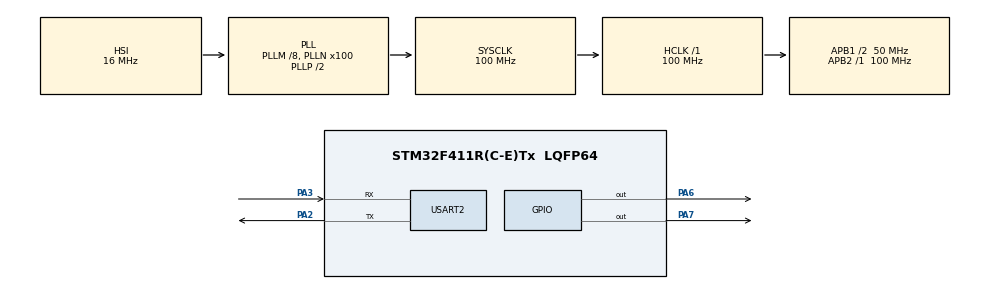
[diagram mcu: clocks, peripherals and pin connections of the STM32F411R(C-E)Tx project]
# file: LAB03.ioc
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Mcu.Family=STM32F4
Mcu.Name=STM32F411R(C-E)Tx
Mcu.Package=LQFP64
NVIC.PriorityGroup=NVIC_PRIORITYGROUP_4
PA2.Mode=Asynchronous
PA2.Signal=USART2_TX
PA3.Mode=Asynchronous
PA3.Signal=USART2_RX
PA6.GPIO_Speed=GPIO_SPEED_FREQ_HIGH
PA6.Signal=GPIO_Output
PA7.GPIO_Speed=GPIO_SPEED_FREQ_HIGH
PA7.Signal=GPIO_Output
ProjectManager.HeapSize=0x200
ProjectManager.StackSize=0x400
ProjectManager.TargetToolchain=MDK-ARM V5
RCC.48MHZClocksFreq_Value=50000000
RCC.AHBFreq_Value=100000000
RCC.APB1CLKDivider=RCC_HCLK_DIV2
RCC.APB1Freq_Value=50000000
RCC.APB1TimFreq_Value=100000000
RCC.APB2Freq_Value=100000000
RCC.APB2TimFreq_Value=100000000
RCC.CortexFreq_Value=100000000
RCC.HCLKFreq_Value=100000000
RCC.HSE_VALUE=25000000
RCC.HSI_VALUE=16000000
RCC.LSE_VALUE=32768
RCC.PLLM=8
RCC.PLLN=100
RCC.SYSCLKFreq_VALUE=100000000
RCC.SYSCLKSource=RCC_SYSCLKSOURCE_PLLCLK
RCC.VCOOutputFreq_Value=200000000
USART2.VirtualMode=VM_ASYNC
board=LAB03

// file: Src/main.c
/**
  ******************************************************************************
  * @file           : main.c
  * @brief          : Main program body
  ******************************************************************************
  ** This notice applies to any and all portions of this file
  * that are not between comment pairs USER CODE BEGIN and
  * USER CODE END. Other portions of this file, whether
  * inserted by the user or by software development tools
  * are owned by their respective copyright owners.
  *
  * COPYRIGHT(c) 2018 STMicroelectronics
  *
  * Redistribution and use in source and binary forms, with or without modification,
  * are permitted provided that the following conditions are met:
  *   1. Redistributions of source code must retain the above copyright notice,
  *      this list of conditions and the following disclaimer.
  *   2. Redistributions in binary form must reproduce the above copyright notice,
  *      this list of conditions and the following disclaimer in the documentation
  *      and/or other materials provided with the distribution.
  *   3. Neither the name of STMicroelectronics nor the names of its contributors
  *      may be used to endorse or promote products derived from this software
  *      without specific prior written permission.
  *
  * THIS SOFTWARE IS PROVIDED BY THE COPYRIGHT HOLDERS AND CONTRIBUTORS "AS IS"
  * AND ANY EXPRESS OR IMPLIED WARRANTIES, INCLUDING, BUT NOT LIMITED TO, THE
  * IMPLIED WARRANTIES OF MERCHANTABILITY AND FITNESS FOR A PARTICULAR PURPOSE ARE
  * DISCLAIMED. IN NO EVENT SHALL THE COPYRIGHT HOLDER OR CONTRIBUTORS BE LIABLE
  * FOR ANY DIRECT, INDIRECT, INCIDENTAL, SPECIAL, EXEMPLARY, OR CONSEQUENTIAL
  * DAMAGES (INCLUDING, BUT NOT LIMITED TO, PROCUREMENT OF SUBSTITUTE GOODS OR
  * SERVICES; LOSS OF USE, DATA, OR PROFITS; OR BUSINESS INTERRUPTION) HOWEVER
  * CAUSED AND ON ANY THEORY OF LIABILITY, WHETHER IN CONTRACT, STRICT LIABILITY,
  * OR TORT (INCLUDING NEGLIGENCE OR OTHERWISE) ARISING IN ANY WAY OUT OF THE USE
  * OF THIS SOFTWARE, EVEN IF ADVISED OF THE POSSIBILITY OF SUCH DAMAGE.
  *
  ******************************************************************************
  */
#include "main.h"
#include "stm32f4xx_hal.h"

/* USER CODE BEGIN Includes */
#include <string.h>
/* USER CODE END Includes */

UART_HandleTypeDef huart2;

/* USER CODE BEGIN PV */
/* Private variables ---------------------------------------------------------*/

/* USER CODE END PV */

void SystemClock_Config(void);
static void MX_GPIO_Init(void);
static void MX_USART2_UART_Init(void);

/* USER CODE BEGIN PFP */
/* Private function prototypes -----------------------------------------------*/

/* USER CODE END PFP */

int main(void)
{

  /* MCU Configuration----------------------------------------------------------*/

  /* Reset of all peripherals, Initializes the Flash interface and the Systick. */
  HAL_Init();

  /* Configure the system clock */
  SystemClock_Config();

  /* Initialize all configured peripherals */
  MX_GPIO_Init();
  MX_USART2_UART_Init();
  /* USER CODE BEGIN 2 */
	char input;

	char display1[] = "Display Blinking LED PRESS (r, g)";
	char display2[] = "\n\rDisplay Group Members PRESS m";
	char display3[] = "\n\rQuit PRESS q";
	char display4[] = "\n\r\tInput => ";

	char clear[] = "\033[2J";
	char cursor[] = "\033[0;0H";
//	char moveDown[] = "\033[10B";
//	char moveUp[] = "\033[11A";

	char quit[] = "\n\rQuit";
	char unknown[] = "\n\rUnknown Command";

	char members[] = "\n\r\
1. Jakkarin Yotapakdee \t\t5840207951\n\r\
2. Pradit Yamsook \t\t5840207349\n\r\
3. Pornpilai Tongkarasonk \t5840003254\n\r\
4. Araya Kawsomboon \t\t5840205711\n\r";

	while(__HAL_UART_GET_FLAG(&huart2, UART_FLAG_TC) == RESET) {}

	HAL_UART_Transmit(&huart2, (uint8_t*) clear, strlen(clear), 1000);
	HAL_UART_Transmit(&huart2, (uint8_t*) cursor, strlen(cursor), 1000);
//	HAL_UART_Transmit(&huart2, (uint8_t*) moveDown, strlen(moveDown), 1000);
//	HAL_UART_Transmit(&huart2, (uint8_t*) moveUp, strlen(moveUp), 1000);
	HAL_UART_Transmit(&huart2, (uint8_t*) display1, strlen(display1), 1000);
	HAL_UART_Transmit(&huart2, (uint8_t*) display2, strlen(display2), 1000);
	HAL_UART_Transmit(&huart2, (uint8_t*) display3, strlen(display3), 1000);
  /* USER CODE END 2 */

  /* Infinite loop */
  while (1)
  {
		HAL_UART_Transmit(&huart2, (uint8_t*) display4, strlen(display4), 1000);

		while(__HAL_UART_GET_FLAG(&huart2, UART_FLAG_RXNE) == RESET) {}
		HAL_UART_Receive(&huart2, (uint8_t*) &input, 1, 1000);

		HAL_UART_Transmit(&huart2, (uint8_t*) &input, 1, 1000);

		if (input == 'q')
		{
			HAL_UART_Transmit(&huart2, (uint8_t*) quit, strlen(quit), 1000);
			break;
		}

		if (input == 'r')
		{
			for(int i = 0; i < 10; i++)
			{
				HAL_GPIO_TogglePin(GPIOA, GPIO_PIN_7);
				HAL_Delay(300);
			}

			continue;
		}

		if (input == 'g')
		{
			for(int i = 0; i < 10; i++)
			{
				HAL_GPIO_TogglePin(GPIOA, GPIO_PIN_6);
				HAL_Delay(300);
			}

			continue;
		}

		if (input == 'A')
		{

		}

		if (input == 'm')
		{
			HAL_UART_Transmit(&huart2, (uint8_t*) members, strlen(members), 1000);
			continue;
		}

		HAL_UART_Transmit(&huart2, (uint8_t*) unknown, strlen(unknown), 1000);
  }

}

void SystemClock_Config(void)
{

  RCC_OscInitTypeDef RCC_OscInitStruct;
  RCC_ClkInitTypeDef RCC_ClkInitStruct;

    /**Configure the main internal regulator output voltage
    */
  __HAL_RCC_PWR_CLK_ENABLE();

  __HAL_PWR_VOLTAGESCALING_CONFIG(PWR_REGULATOR_VOLTAGE_SCALE1);

    /**Initializes the CPU, AHB and APB busses clocks
    */
  RCC_OscInitStruct.OscillatorType = RCC_OSCILLATORTYPE_HSI;
  RCC_OscInitStruct.HSIState = RCC_HSI_ON;
  RCC_OscInitStruct.HSICalibrationValue = 16;
  RCC_OscInitStruct.PLL.PLLState = RCC_PLL_ON;
  RCC_OscInitStruct.PLL.PLLSource = RCC_PLLSOURCE_HSI;
  RCC_OscInitStruct.PLL.PLLM = 8;
  RCC_OscInitStruct.PLL.PLLN = 100;
  RCC_OscInitStruct.PLL.PLLP = RCC_PLLP_DIV2;
  RCC_OscInitStruct.PLL.PLLQ = 4;
  if (HAL_RCC_OscConfig(&RCC_OscInitStruct) != HAL_OK)
  {
    _Error_Handler(__FILE__, __LINE__);
  }

    /**Initializes the CPU, AHB and APB busses clocks
    */
  RCC_ClkInitStruct.ClockType = RCC_CLOCKTYPE_HCLK|RCC_CLOCKTYPE_SYSCLK
                              |RCC_CLOCKTYPE_PCLK1|RCC_CLOCKTYPE_PCLK2;
  RCC_ClkInitStruct.SYSCLKSource = RCC_SYSCLKSOURCE_PLLCLK;
  RCC_ClkInitStruct.AHBCLKDivider = RCC_SYSCLK_DIV1;
  RCC_ClkInitStruct.APB1CLKDivider = RCC_HCLK_DIV2;
  RCC_ClkInitStruct.APB2CLKDivider = RCC_HCLK_DIV1;

  if (HAL_RCC_ClockConfig(&RCC_ClkInitStruct, FLASH_LATENCY_3) != HAL_OK)
  {
    _Error_Handler(__FILE__, __LINE__);
  }

    /**Configure the Systick interrupt time
    */
  HAL_SYSTICK_Config(HAL_RCC_GetHCLKFreq()/1000);

    /**Configure the Systick
    */
  HAL_SYSTICK_CLKSourceConfig(SYSTICK_CLKSOURCE_HCLK);

  /* SysTick_IRQn interrupt configuration */
  HAL_NVIC_SetPriority(SysTick_IRQn, 0, 0);
}

/* USART2 init function */
static void MX_USART2_UART_Init(void)
{

  huart2.Instance = USART2;
  huart2.Init.BaudRate = 115200;
  huart2.Init.WordLength = UART_WORDLENGTH_8B;
  huart2.Init.StopBits = UART_STOPBITS_1;
  huart2.Init.Parity = UART_PARITY_NONE;
  huart2.Init.Mode = UART_MODE_TX_RX;
  huart2.Init.HwFlowCtl = UART_HWCONTROL_NONE;
  huart2.Init.OverSampling = UART_OVERSAMPLING_16;
  if (HAL_UART_Init(&huart2) != HAL_OK)
  {
    _Error_Handler(__FILE__, __LINE__);
  }

}

/** Configure pins as
        * Analog
        * Input
        * Output
        * EVENT_OUT
        * EXTI
*/
static void MX_GPIO_Init(void)
{

  GPIO_InitTypeDef GPIO_InitStruct;

  /* GPIO Ports Clock Enable */
  __HAL_RCC_GPIOA_CLK_ENABLE();

  /*Configure GPIO pin Output Level */
  HAL_GPIO_WritePin(GPIOA, GPIO_PIN_6|GPIO_PIN_7, GPIO_PIN_RESET);

  /*Configure GPIO pins : PA6 PA7 */
  GPIO_InitStruct.Pin = GPIO_PIN_6|GPIO_PIN_7;
  GPIO_InitStruct.Mode = GPIO_MODE_OUTPUT_PP;
  GPIO_InitStruct.Pull = GPIO_NOPULL;
  GPIO_InitStruct.Speed = GPIO_SPEED_FREQ_HIGH;
  HAL_GPIO_Init(GPIOA, &GPIO_InitStruct);

}

void _Error_Handler(char *file, int line)
{
  while(1)
  {
  }
}

/************************ (C) COPYRIGHT STMicroelectronics *****END OF FILE****/
